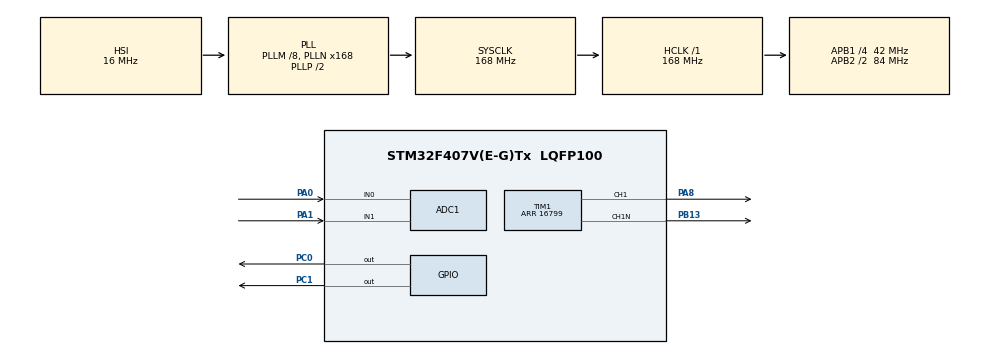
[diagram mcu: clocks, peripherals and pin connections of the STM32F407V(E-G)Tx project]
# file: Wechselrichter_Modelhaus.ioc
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ADC1.Channel-0\#ChannelRegularConversion=ADC_CHANNEL_0
ADC1.NbrOfConversionFlag=1
ADC1.Rank-0\#ChannelRegularConversion=1
ADC1.SamplingTime-0\#ChannelRegularConversion=ADC_SAMPLETIME_3CYCLES
ADC1.master=1
Dma.Request0=TIM1_UP
Dma.TIM1_UP.0.Direction=DMA_MEMORY_TO_PERIPH
Dma.TIM1_UP.0.FIFOMode=DMA_FIFOMODE_DISABLE
Dma.TIM1_UP.0.Instance=DMA2_Stream5
Dma.TIM1_UP.0.MemDataAlignment=DMA_MDATAALIGN_HALFWORD
Dma.TIM1_UP.0.MemInc=DMA_MINC_ENABLE
Dma.TIM1_UP.0.Mode=DMA_CIRCULAR
Dma.TIM1_UP.0.PeriphDataAlignment=DMA_PDATAALIGN_HALFWORD
Dma.TIM1_UP.0.PeriphInc=DMA_PINC_DISABLE
Dma.TIM1_UP.0.Priority=DMA_PRIORITY_LOW
Mcu.Family=STM32F4
Mcu.Name=STM32F407V(E-G)Tx
Mcu.Package=LQFP100
NVIC.DMA2_Stream5_IRQn=true\:0\:0\:false\:false\:true\:false\:true\:true
NVIC.PriorityGroup=NVIC_PRIORITYGROUP_4
PA0-WKUP.Signal=ADCx_IN0
PA1.Signal=ADCx_IN1
PA8.Signal=S_TIM1_CH1
PB13.Mode=PWM Generation1 CH1 CH1N
PB13.Signal=TIM1_CH1N
PC0.Signal=GPIO_Output
PC1.Signal=GPIO_Output
ProjectManager.HeapSize=0x200
ProjectManager.StackSize=0x400
ProjectManager.TargetToolchain=STM32CubeIDE
RCC.48MHZClocksFreq_Value=84000000
RCC.AHBFreq_Value=168000000
RCC.APB1CLKDivider=RCC_HCLK_DIV4
RCC.APB1Freq_Value=42000000
RCC.APB1TimFreq_Value=84000000
RCC.APB2CLKDivider=RCC_HCLK_DIV2
RCC.APB2Freq_Value=84000000
RCC.APB2TimFreq_Value=168000000
RCC.CortexFreq_Value=168000000
RCC.HCLKFreq_Value=168000000
RCC.HSE_VALUE=25000000
RCC.HSI_VALUE=16000000
RCC.LSE_VALUE=32768
RCC.PLLM=8
RCC.PLLN=168
RCC.SYSCLKFreq_VALUE=168000000
RCC.SYSCLKSource=RCC_SYSCLKSOURCE_PLLCLK
RCC.VCOOutputFreq_Value=336000000
SH.ADCx_IN0.0=ADC1_IN0,IN0
SH.ADCx_IN1.0=ADC1_IN1,IN1
SH.S_TIM1_CH1.0=TIM1_CH1,PWM Generation1 CH1 CH1N
TIM1.AutoReloadPreload=TIM_AUTORELOAD_PRELOAD_ENABLE
TIM1.BreakState=TIM_BREAK_DISABLE
TIM1.Channel-PWM\ Generation1\ CH1\ CH1N=TIM_CHANNEL_1
TIM1.DeadTime=20
TIM1.OC1Preload_PWM=DISABLE
TIM1.Period=16799
VP_TIM1_VS_ClockSourceINT.Mode=Internal
board=custom

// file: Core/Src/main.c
/* USER CODE BEGIN Header */
/* USER CODE END Header */
#include "main.h"

/* USER CODE BEGIN Includes */
#include <math.h>

#ifndef M_PI
#define M_PI 3.14159265358979323846f
#endif
/* USER CODE END Includes */

/* USER CODE BEGIN PD */
/* Anzahl Sinus-Stuetzstellen pro 50Hz-Vollperiode. Bei 10kHz Traeger
 * (siehe TIM1 ARR=16799 -> 168MHz/16800=10kHz) ergibt 200 Werte genau
 * 10000/200 = 50Hz Ausgangsfrequenz. */
#define SAMPLES_PER_CYCLE   200U

/* Amplitude der Sinus-Ausgangsspannung relativ zur maximal moeglichen
 * Amplitude (0.0 .. 1.0). Spitzenwert am Ausgang = MODULATION_INDEX * 24V.
 * 12V-Lampe: 12V eff. * 1.414 = 17V Spitze -> 17/24 = 0.70. */
#define MODULATION_INDEX    0.70f

/* Messfenster fuer die Effektivwert-Berechnung (RMS) in Millisekunden.
 * 100ms = 5 volle 50Hz-Perioden; mittelt ausserdem das Sensorrauschen. */
#define RMS_WINDOW_MS       100U

/* ACS712-20A: 100mV pro Ampere. Der Nullpunkt (VCC/2) wird nicht fest
 * angenommen, sondern beim Start gemessen (siehe Sensors_CalibrateZero),
 * da die 5V vom Board nie genau 5.00V sind. */
#define ACS712_SENSITIVITY_V_PER_A   0.100f
#define ACS712_CALIB_SAMPLES         64U

/* ZMPT101B-Kalibrierung auf die 50Hz-Grundschwingung (gefiltertes Signal):
 * Referenzmessung mit Analog Discovery 2 / WaveForms (Differenzmessung
 * Klemme A - Klemme B, Ausgangsfilter 1mH + 7uF): 11.801V eff. bei
 * voltageFundRmsRaw = 87.62 -> 0.1347 V pro ADC-Schritt. Die Daempfung des
 * digitalen Filters (ca. 6% bei 50Hz) ist darin enthalten. Gilt nur, solange
 * das Poti auf dem ZMPT101B-Modul nicht verstellt wird! */
#define ZMPT101B_VOLTS_PER_RAW       (11.801f / 87.6176f)

/* Hysterese fuer die Nulldurchgangserkennung (Frequenzmessung) in
 * ADC-Schritten. Rauschen ca. 5 Schritte, Sinus-Amplitude ca. 125 Schritte. */
#define FREQ_HYSTERESIS_RAW          30.0f

/* Grenzfrequenz des digitalen Tiefpasses (2x 1. Ordnung) fuer Frequenzmessung
 * und Kurvenanzeige: entfernt Reste des 10kHz-PWM-Anteils und Schaltstoerungen,
 * die der Sensor aufnimmt. Bei 200Hz bleiben vom 50Hz-Sinus ca. 94% der Amplitude.
 * Der Filterfaktor wird aus der echten Zeit zwischen zwei Messungen berechnet,
 * weil die Abtastrate von der Laufzeit des Codes abhaengt. */
#define FREQ_FILTER_CUTOFF_HZ        200.0f

/* Einschwingzeit des Filters, bevor seine Werte in den Effektivwert der
 * Grundschwingung eingehen (Zeitkonstante je Stufe ca. 0,8ms). */
#define FILTER_SETTLE_MS             10U

/* Sperrzeit nach einem gezaehlten Nulldurchgang (halbe 50Hz-Periode):
 * Restzittern direkt am Nulldurchgang kann so nicht doppelt zaehlen. */
#define FREQ_HOLDOFF_MS              10U

/* Abstand der Werte fuer die Kurvenanzeige (SWV Data Trace Timeline Graph)
 * in Mikrosekunden: 500us -> 40 Punkte pro 20ms-Periode. Deutlich schneller
 * ueberfordert die SWO-Leitung des Debuggers. */
#define SCOPE_INTERVAL_US            500U

/* ADC-Referenz des STM32 (VDDA). Auf dem STM32F4DISCOVERY laeuft der
 * Controller mit 3.0V, nicht mit 3.3V. */
#define ADC_VREF        3.0f
#define ADC_MAX_VALUE   4095.0f
/* USER CODE END PD */

ADC_HandleTypeDef hadc1;

TIM_HandleTypeDef htim1;
DMA_HandleTypeDef hdma_tim1_up;

/* USER CODE BEGIN PV */
/* Sinus-Lookup-Tabelle: DMA schreibt diese Werte nacheinander (zyklisch)
 * in TIM1->CCR1 - das ist die eigentliche SPWM-Erzeugung. */
static uint16_t sineTable[SAMPLES_PER_CYCLE];

/* Zuletzt gemessene ADC-Rohwerte (0..4095), nur zur Beobachtung im
 * Debugger (Live Expressions) - keine Regelung. */
static volatile uint16_t currentRaw = 0;
static volatile uint16_t voltageRaw = 0;

/* Effektivwert (RMS) des Lampenstroms in Ampere (ACS712-20A), ueber
 * RMS_WINDOW_MS gemittelt und um das Grundrauschen bereinigt. */
static volatile float currentAmps = 0.0f;

/* voltageRmsRaw: Effektivwert des ungefilterten Wechselanteils in ADC-
 * Schritten (nur Diagnose, enthaelt auch Schaltstoerungen).
 * voltageVolts: Effektivwert der 50Hz-Lampenspannung in Volt, berechnet aus
 * voltageFundRmsRaw (Umrechnung siehe ZMPT101B_VOLTS_PER_RAW). */
static volatile float voltageRmsRaw = 0.0f;
static volatile float voltageVolts  = 0.0f;

/* Frequenz der Lampenspannung in Hz, aus den Nulldurchgaengen gemessen
 * (0, solange keine Wechselspannung anliegt). */
static volatile float frequencyHz = 0.0f;

/* Momentane Lampenspannung in Millivolt (gefiltert, ohne 10kHz-Zittern) fuer
 * die Kurvenanzeige im Debugger. Bewusst nicht static und als Ganzzahl, damit
 * der SWV Data Trace sie per Adresse findet und richtig darstellt. */
volatile int32_t scopeMillivolts = 0;

/* Tatsaechliche Anzahl Messpaare (Strom + Spannung) pro Sekunde, zur
 * Kontrolle im Debugger. */
static volatile float adcPairsPerSecond = 0.0f;

/* Effektivwert nur der 50Hz-Grundschwingung der Spannung (gefiltert) in
 * ADC-Schritten. voltageRmsRaw enthaelt dagegen auch das 10kHz-Zittern. */
static volatile float voltageFundRmsRaw = 0.0f;

/* Gleichspannungs-Verschiebung der gemessenen Spannung (Mittelwert des
 * letzten Messfensters) in ADC-Schritten. Wird fuer Nulldurchgaenge und
 * Kurvenanzeige abgezogen; zur Diagnose im Debugger sichtbar. */
static volatile float voltageOffsetRaw = 0.0f;

/* ADC-Rohwerte bei 0A bzw. 0V, beim Start gemessen (Bruecke noch aus). */
static volatile float currentZeroRaw = 0.0f;
static volatile float voltageZeroRaw = 0.0f;

/* Grundrauschen des ACS712 (RMS in ADC-Schritten) ohne Strom. */
static volatile float currentNoiseRaw = 0.0f;
/* USER CODE END PV */

void SystemClock_Config(void);
static void MX_GPIO_Init(void);
static void MX_DMA_Init(void);
static void MX_ADC1_Init(void);
static void MX_TIM1_Init(void);

/* USER CODE BEGIN 0 */

/* Berechnet die Sinus-Tabelle einmalig beim Start. duty = 0.5*(1 + m*sin(x))
 * ergibt eine bipolare Modulation um 50% Tastverhaeltnis herum, die direkt
 * an der H-Bruecke (CH1/CH1N) eine Wechselspannung erzeugt. */
static void SPWM_ComputeSineTable(void)
{
  const uint32_t period = htim1.Init.Period;

  for (uint32_t i = 0; i < SAMPLES_PER_CYCLE; i++)
  {
    float angle = 2.0f * (float)M_PI * (float)i / (float)SAMPLES_PER_CYCLE;
    float duty  = 0.5f * (1.0f + MODULATION_INDEX * sinf(angle));
    sineTable[i] = (uint16_t)(duty * (float)period);
  }
}

/* Liest einen einzelnen ADC-Kanal per Single-Conversion (Polling, kein DMA -
 * fuer reines Monitoring voellig ausreichend). */
static uint16_t ADC_ReadChannel(uint32_t channel)
{
  ADC_ChannelConfTypeDef sConfig = {0};
  sConfig.Channel = channel;
  sConfig.Rank = 1;
  sConfig.SamplingTime = ADC_SAMPLETIME_84CYCLES;
  HAL_ADC_ConfigChannel(&hadc1, &sConfig);

  HAL_ADC_Start(&hadc1);
  uint16_t value = 0;
  if (HAL_ADC_PollForConversion(&hadc1, 10) == HAL_OK)
  {
    value = (uint16_t)HAL_ADC_GetValue(&hadc1);
  }
  HAL_ADC_Stop(&hadc1);

  return value;
}

/* Startet den Zykluszaehler des Cortex-M4 (DWT->CYCCNT). Er zaehlt mit dem
 * CPU-Takt (168MHz) und liefert damit Zeitstempel mit ca. 6ns Aufloesung -
 * HAL_GetTick() waere mit 1ms fuer die Frequenzmessung zu grob. */
static void DWT_InitCycleCounter(void)
{
  CoreDebug->DEMCR |= CoreDebug_DEMCR_TRCENA_Msk;
  DWT->CYCCNT = 0;
  DWT->CTRL |= DWT_CTRL_CYCCNTENA_Msk;
}

/* Misst Strom und Spannung ueber RMS_WINDOW_MS abwechselnd so oft wie
 * moeglich und liefert die Effektivwerte (Abweichung vom Nullpunkt) in
 * ADC-Schritten sowie die Frequenz der Spannung. Blockiert fuer
 * RMS_WINDOW_MS. */
static void Sensors_MeasureRms(float zeroI, float zeroU, float *rmsI, float *rmsU,
                               float *freqHz)
{
  float sumSqI = 0.0f;
  float sumSqU = 0.0f;
  uint32_t n = 0;
  const uint32_t start = HAL_GetTick();

  /* Nulldurchgangserkennung: Eine steigende Flanke zaehlt erst, wenn die
   * Spannung vorher unter -Hysterese war und jetzt ueber +Hysterese steigt.
   * So loest das Rauschen um den Nullpunkt keine Fehlzaehlung aus. */
  uint8_t  wasNegative = 0;
  uint32_t crossings = 0;
  uint32_t firstCrossCycles = 0;
  uint32_t lastCrossCycles = 0;
  float    uFilt1 = 0.0f;
  float    uFilt2 = 0.0f;
  float    sumSqF = 0.0f;
  float    sumF = 0.0f;
  float    sumU = 0.0f;
  uint32_t nF = 0;
  const uint32_t holdoffCycles = (SystemCoreClock / 1000U) * FREQ_HOLDOFF_MS;
  const uint32_t scopeCycles = (SystemCoreClock / 1000000U) * SCOPE_INTERVAL_US;
  uint32_t lastScopeCycles = DWT->CYCCNT;
  uint32_t lastSampleCycles = DWT->CYCCNT;
  const float omegaCutoff = 2.0f * (float)M_PI * FREQ_FILTER_CUTOFF_HZ;

  while ((HAL_GetTick() - start) < RMS_WINDOW_MS)
  {
    currentRaw = ADC_ReadChannel(ADC_CHANNEL_0);
    voltageRaw = ADC_ReadChannel(ADC_CHANNEL_1);
    float dI = (float)currentRaw - zeroI;
    float dU = (float)voltageRaw - zeroU;
    sumSqI += dI * dI;
    sumSqU += dU * dU;
    sumU   += dU;
    n++;

    /* Gefiltertes Signal (nur 50Hz-Grundschwingung) fuer Frequenz, Kurve
     * und Grundschwingungs-Effektivwert; der RMS-Wert oben bleibt ungefiltert.
     * Filterfaktor aus der tatsaechlichen Zeit seit der letzten Messung:
     * alpha = w*dt / (1 + w*dt) - entspricht einem RC-Tiefpass. */
    uint32_t nowSample = DWT->CYCCNT;
    float dt = (float)(nowSample - lastSampleCycles) / (float)SystemCoreClock;
    lastSampleCycles = nowSample;
    float alpha = (omegaCutoff * dt) / (1.0f + omegaCutoff * dt);

    uFilt1 += alpha * (dU - uFilt1);
    uFilt2 += alpha * (uFilt1 - uFilt2);

    /* Die ersten ms auslassen, bis der Filter (Start bei 0) eingeschwungen ist. */
    if ((HAL_GetTick() - start) >= FILTER_SETTLE_MS)
    {
      sumSqF += uFilt2 * uFilt2;
      sumF   += uFilt2;
      nF++;
    }

    /* Wechselanteil: gefiltertes Signal ohne die Gleichspannungs-Verschiebung
     * (Mittelwert des vorherigen Messfensters). */
    float uAc = uFilt2 - voltageOffsetRaw;

    /* Im festen Raster einen Kurvenpunkt fuer den Debugger ausgeben. */
    if ((DWT->CYCCNT - lastScopeCycles) >= scopeCycles)
    {
      lastScopeCycles += scopeCycles;
      scopeMillivolts = (int32_t)(uAc * ZMPT101B_VOLTS_PER_RAW * 1000.0f);
    }

    if (uAc < -FREQ_HYSTERESIS_RAW)
    {
      wasNegative = 1;
    }
    else if (wasNegative && (uAc > FREQ_HYSTERESIS_RAW))
    {
      wasNegative = 0;
      uint32_t now = DWT->CYCCNT;
      if ((crossings == 0) || ((now - lastCrossCycles) > holdoffCycles))
      {
        if (crossings == 0)
        {
          firstCrossCycles = now;
        }
        lastCrossCycles = now;
        crossings++;
      }
    }
  }

  *rmsI = sqrtf(sumSqI / (float)n);
  adcPairsPerSecond = (float)n * 1000.0f / (float)RMS_WINDOW_MS;

  /* Spannung: nur den Wechselanteil bewerten. Effektivwert um den Mittelwert
   * herum: RMS_ac = sqrt(mean(x^2) - mean(x)^2). Eine Gleichspannungs-
   * Verschiebung (Nullpunktdrift des Sensors) faelscht so den Wert nicht. */
  float meanU = sumU / (float)n;
  float varU  = sumSqU / (float)n - meanU * meanU;
  *rmsU = (varU > 0.0f) ? sqrtf(varU) : 0.0f;
  if (nF > 0U)
  {
    float meanF = sumF / (float)nF;
    float varF  = sumSqF / (float)nF - meanF * meanF;
    voltageFundRmsRaw = (varF > 0.0f) ? sqrtf(varF) : 0.0f;
    voltageOffsetRaw  = meanF;
  }

  /* Zwischen dem ersten und letzten Nulldurchgang liegen (crossings - 1)
   * volle Perioden. Bei 50Hz und 100ms Fenster sind das 4 Perioden. */
  if (crossings >= 2)
  {
    float seconds = (float)(lastCrossCycles - firstCrossCycles) / (float)SystemCoreClock;
    *freqHz = (float)(crossings - 1) / seconds;
  }
  else
  {
    *freqHz = 0.0f;
  }
}

/* Misst die Nullpunkte beider Sensoren und das Grundrauschen des ACS712.
 * Muss aufgerufen werden, BEVOR die H-Bruecke Strom liefert. */
static void Sensors_CalibrateZero(void)
{
  uint32_t sumI = 0;
  uint32_t sumU = 0;
  for (uint32_t i = 0; i < ACS712_CALIB_SAMPLES; i++)
  {
    sumI += ADC_ReadChannel(ADC_CHANNEL_0);
    sumU += ADC_ReadChannel(ADC_CHANNEL_1);
    HAL_Delay(1);
  }
  currentZeroRaw = (float)sumI / (float)ACS712_CALIB_SAMPLES;
  voltageZeroRaw = (float)sumU / (float)ACS712_CALIB_SAMPLES;

  /* Ohne Strom ist der gemessene "Effektivwert" reines Rauschen. */
  float noiseU;
  float noiseI;
  float noiseF;
  Sensors_MeasureRms(currentZeroRaw, voltageZeroRaw, &noiseI, &noiseU, &noiseF);
  currentNoiseRaw = noiseI;
}

/* Rechnet einen Strom-Effektivwert (ADC-Schritte) in Ampere um und zieht
 * dabei das Grundrauschen ab (Rauschen und Signal addieren sich quadratisch). */
static float ACS712_RmsToAmps(float rmsRaw)
{
  float sq = rmsRaw * rmsRaw - currentNoiseRaw * currentNoiseRaw;
  float signalRaw = (sq > 0.0f) ? sqrtf(sq) : 0.0f;
  float volts = (signalRaw / ADC_MAX_VALUE) * ADC_VREF;
  return volts / ACS712_SENSITIVITY_V_PER_A;
}
/* USER CODE END 0 */

int main(void)
{

  /* MCU Configuration--------------------------------------------------------*/

  /* Reset of all peripherals, Initializes the Flash interface and the Systick. */
  HAL_Init();

  /* Configure the system clock */
  SystemClock_Config();

  /* Initialize all configured peripherals */
  MX_GPIO_Init();
  MX_DMA_Init();
  MX_ADC1_Init();
  MX_TIM1_Init();
  /* USER CODE BEGIN 2 */
  SPWM_ComputeSineTable();

  /* Zeitbasis fuer die Frequenzmessung starten. */
  DWT_InitCycleCounter();

  /* Nullpunkte der Sensoren messen, solange die Bruecke noch aus ist. */
  Sensors_CalibrateZero();

  /* BTS7960 R_EN/L_EN dauerhaft freigeben (per Schaltplan fest auf den
   * STM32-Pins PC0/PC1, keine Deaktivierung noetig fuer dieses Projekt). */
  HAL_GPIO_WritePin(GPIOC, GPIO_PIN_0 | GPIO_PIN_1, GPIO_PIN_SET);

  /* SPWM per DMA starten: TIM1-Update-Event laedt automatisch den naechsten
   * Sinus-Wert aus sineTable[] in TIM1->CCR1, komplett ohne CPU-Eingriff.
   * HAL_TIM_PWM_Start_DMA() passt hier NICHT (die erwartet eine an das
   * Capture/Compare-Event gekoppelte DMA, hdma[TIM_DMA_ID_CC1]) - wir haben
   * aber bewusst die Update-Event-DMA (hdma_tim1_up) verknuepft. Daher DMA
   * und Kanal-Ausgaenge hier direkt manuell starten. */
  HAL_DMA_Start(&hdma_tim1_up, (uint32_t)sineTable, (uint32_t)&htim1.Instance->CCR1, SAMPLES_PER_CYCLE);
  __HAL_TIM_ENABLE_DMA(&htim1, TIM_DMA_UPDATE);
  HAL_TIM_PWM_Start(&htim1, TIM_CHANNEL_1);
  HAL_TIMEx_PWMN_Start(&htim1, TIM_CHANNEL_1);
  /* USER CODE END 2 */

  /* Infinite loop */
  while (1)
  {

    /* USER CODE BEGIN 3 */
    /* Dauert RMS_WINDOW_MS, liefert also alle 100ms neue Effektivwerte. */
    float rmsI;
    float rmsU;
    float freq;
    Sensors_MeasureRms(currentZeroRaw, voltageZeroRaw, &rmsI, &rmsU, &freq);
    currentAmps   = ACS712_RmsToAmps(rmsI);
    voltageRmsRaw = rmsU;
    voltageVolts  = voltageFundRmsRaw * ZMPT101B_VOLTS_PER_RAW;
    frequencyHz   = freq;
  }
  /* USER CODE END 3 */
}

void SystemClock_Config(void)
{
  RCC_OscInitTypeDef RCC_OscInitStruct = {0};
  RCC_ClkInitTypeDef RCC_ClkInitStruct = {0};

  /** Configure the main internal regulator output voltage
  */
  __HAL_RCC_PWR_CLK_ENABLE();
  __HAL_PWR_VOLTAGESCALING_CONFIG(PWR_REGULATOR_VOLTAGE_SCALE1);

  /** Initializes the RCC Oscillators according to the specified parameters
  * in the RCC_OscInitTypeDef structure.
  */
  RCC_OscInitStruct.OscillatorType = RCC_OSCILLATORTYPE_HSI;
  RCC_OscInitStruct.HSIState = RCC_HSI_ON;
  RCC_OscInitStruct.HSICalibrationValue = RCC_HSICALIBRATION_DEFAULT;
  RCC_OscInitStruct.PLL.PLLState = RCC_PLL_ON;
  RCC_OscInitStruct.PLL.PLLSource = RCC_PLLSOURCE_HSI;
  RCC_OscInitStruct.PLL.PLLM = 8;
  RCC_OscInitStruct.PLL.PLLN = 168;
  RCC_OscInitStruct.PLL.PLLP = RCC_PLLP_DIV2;
  RCC_OscInitStruct.PLL.PLLQ = 4;
  if (HAL_RCC_OscConfig(&RCC_OscInitStruct) != HAL_OK)
  {
    Error_Handler();
  }

  /** Initializes the CPU, AHB and APB buses clocks
  */
  RCC_ClkInitStruct.ClockType = RCC_CLOCKTYPE_HCLK|RCC_CLOCKTYPE_SYSCLK
                              |RCC_CLOCKTYPE_PCLK1|RCC_CLOCKTYPE_PCLK2;
  RCC_ClkInitStruct.SYSCLKSource = RCC_SYSCLKSOURCE_PLLCLK;
  RCC_ClkInitStruct.AHBCLKDivider = RCC_SYSCLK_DIV1;
  RCC_ClkInitStruct.APB1CLKDivider = RCC_HCLK_DIV4;
  RCC_ClkInitStruct.APB2CLKDivider = RCC_HCLK_DIV2;

  if (HAL_RCC_ClockConfig(&RCC_ClkInitStruct, FLASH_LATENCY_5) != HAL_OK)
  {
    Error_Handler();
  }
}

static void MX_ADC1_Init(void)
{

  ADC_ChannelConfTypeDef sConfig = {0};

  /** Configure the global features of the ADC (Clock, Resolution, Data Alignment and number of conversion)
  */
  hadc1.Instance = ADC1;
  hadc1.Init.ClockPrescaler = ADC_CLOCK_SYNC_PCLK_DIV4;
  hadc1.Init.Resolution = ADC_RESOLUTION_12B;
  hadc1.Init.ScanConvMode = DISABLE;
  hadc1.Init.ContinuousConvMode = DISABLE;
  hadc1.Init.DiscontinuousConvMode = DISABLE;
  hadc1.Init.ExternalTrigConvEdge = ADC_EXTERNALTRIGCONVEDGE_NONE;
  hadc1.Init.ExternalTrigConv = ADC_SOFTWARE_START;
  hadc1.Init.DataAlign = ADC_DATAALIGN_RIGHT;
  hadc1.Init.NbrOfConversion = 1;
  hadc1.Init.DMAContinuousRequests = DISABLE;
  hadc1.Init.EOCSelection = ADC_EOC_SINGLE_CONV;
  if (HAL_ADC_Init(&hadc1) != HAL_OK)
  {
    Error_Handler();
  }

  /** Configure for the selected ADC regular channel its corresponding rank in the sequencer and its sample time.
  */
  sConfig.Channel = ADC_CHANNEL_0;
  sConfig.Rank = 1;
  sConfig.SamplingTime = ADC_SAMPLETIME_3CYCLES;
  if (HAL_ADC_ConfigChannel(&hadc1, &sConfig) != HAL_OK)
  {
    Error_Handler();
  }

}

static void MX_TIM1_Init(void)
{

  TIM_ClockConfigTypeDef sClockSourceConfig = {0};
  TIM_MasterConfigTypeDef sMasterConfig = {0};
  TIM_OC_InitTypeDef sConfigOC = {0};
  TIM_BreakDeadTimeConfigTypeDef sBreakDeadTimeConfig = {0};

  htim1.Instance = TIM1;
  htim1.Init.Prescaler = 0;
  htim1.Init.CounterMode = TIM_COUNTERMODE_UP;
  htim1.Init.Period = 16799;
  htim1.Init.ClockDivision = TIM_CLOCKDIVISION_DIV1;
  htim1.Init.RepetitionCounter = 0;
  htim1.Init.AutoReloadPreload = TIM_AUTORELOAD_PRELOAD_ENABLE;
  if (HAL_TIM_Base_Init(&htim1) != HAL_OK)
  {
    Error_Handler();
  }
  sClockSourceConfig.ClockSource = TIM_CLOCKSOURCE_INTERNAL;
  if (HAL_TIM_ConfigClockSource(&htim1, &sClockSourceConfig) != HAL_OK)
  {
    Error_Handler();
  }
  if (HAL_TIM_PWM_Init(&htim1) != HAL_OK)
  {
    Error_Handler();
  }
  sMasterConfig.MasterOutputTrigger = TIM_TRGO_RESET;
  sMasterConfig.MasterSlaveMode = TIM_MASTERSLAVEMODE_DISABLE;
  if (HAL_TIMEx_MasterConfigSynchronization(&htim1, &sMasterConfig) != HAL_OK)
  {
    Error_Handler();
  }
  sConfigOC.OCMode = TIM_OCMODE_PWM1;
  sConfigOC.Pulse = 0;
  sConfigOC.OCPolarity = TIM_OCPOLARITY_HIGH;
  sConfigOC.OCNPolarity = TIM_OCNPOLARITY_HIGH;
  sConfigOC.OCFastMode = TIM_OCFAST_DISABLE;
  sConfigOC.OCIdleState = TIM_OCIDLESTATE_RESET;
  sConfigOC.OCNIdleState = TIM_OCNIDLESTATE_RESET;
  if (HAL_TIM_PWM_ConfigChannel(&htim1, &sConfigOC, TIM_CHANNEL_1) != HAL_OK)
  {
    Error_Handler();
  }
  __HAL_TIM_DISABLE_OCxPRELOAD(&htim1, TIM_CHANNEL_1);
  sBreakDeadTimeConfig.OffStateRunMode = TIM_OSSR_DISABLE;
  sBreakDeadTimeConfig.OffStateIDLEMode = TIM_OSSI_DISABLE;
  sBreakDeadTimeConfig.LockLevel = TIM_LOCKLEVEL_OFF;
  sBreakDeadTimeConfig.DeadTime = 20;
  sBreakDeadTimeConfig.BreakState = TIM_BREAK_DISABLE;
  sBreakDeadTimeConfig.BreakPolarity = TIM_BREAKPOLARITY_HIGH;
  sBreakDeadTimeConfig.AutomaticOutput = TIM_AUTOMATICOUTPUT_DISABLE;
  if (HAL_TIMEx_ConfigBreakDeadTime(&htim1, &sBreakDeadTimeConfig) != HAL_OK)
  {
    Error_Handler();
  }
  HAL_TIM_MspPostInit(&htim1);

}

static void MX_DMA_Init(void)
{

  /* DMA controller clock enable */
  __HAL_RCC_DMA2_CLK_ENABLE();

  /* DMA interrupt init */
  /* DMA2_Stream5_IRQn interrupt configuration */
  HAL_NVIC_SetPriority(DMA2_Stream5_IRQn, 0, 0);
  HAL_NVIC_EnableIRQ(DMA2_Stream5_IRQn);

}

static void MX_GPIO_Init(void)
{
  GPIO_InitTypeDef GPIO_InitStruct = {0};

  /* GPIO Ports Clock Enable */
  __HAL_RCC_GPIOC_CLK_ENABLE();
  __HAL_RCC_GPIOA_CLK_ENABLE();
  __HAL_RCC_GPIOB_CLK_ENABLE();

  /*Configure GPIO pin Output Level */
  HAL_GPIO_WritePin(GPIOC, GPIO_PIN_0|GPIO_PIN_1, GPIO_PIN_RESET);

  /*Configure GPIO pins : PC0 PC1 */
  GPIO_InitStruct.Pin = GPIO_PIN_0|GPIO_PIN_1;
  GPIO_InitStruct.Mode = GPIO_MODE_OUTPUT_PP;
  GPIO_InitStruct.Pull = GPIO_NOPULL;
  GPIO_InitStruct.Speed = GPIO_SPEED_FREQ_LOW;
  HAL_GPIO_Init(GPIOC, &GPIO_InitStruct);

}

void Error_Handler(void)
{
  /* USER CODE BEGIN Error_Handler_Debug */
  /* BTS7960 sofort abschalten (R_EN/L_EN low), damit die H-Bruecke bei
   * einer fehlgeschlagenen Initialisierung nicht unkontrolliert schaltet.
   * Danach anhalten - im Debugger sieht man so, dass ein Fehler auftrat. */
  HAL_GPIO_WritePin(GPIOC, GPIO_PIN_0 | GPIO_PIN_1, GPIO_PIN_RESET);
  __disable_irq();
  while (1)
  {
  }
  /* USER CODE END Error_Handler_Debug */
}
